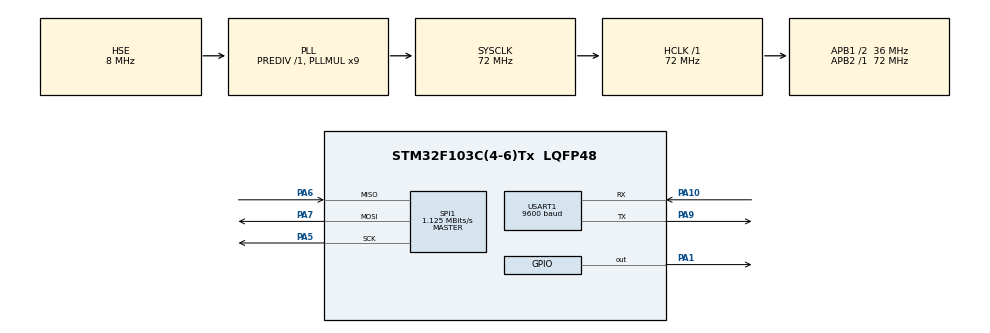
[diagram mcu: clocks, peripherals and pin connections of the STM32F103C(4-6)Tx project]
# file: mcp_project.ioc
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Mcu.Family=STM32F1
Mcu.Name=STM32F103C(4-6)Tx
Mcu.Package=LQFP48
NVIC.PriorityGroup=NVIC_PRIORITYGROUP_4
PA1.Signal=GPIO_Output
PA10.Mode=Asynchronous
PA10.Signal=USART1_RX
PA13.Mode=Serial_Wire
PA13.Signal=SYS_JTMS-SWDIO
PA14.Mode=Serial_Wire
PA14.Signal=SYS_JTCK-SWCLK
PA5.Mode=Full_Duplex_Master
PA5.Signal=SPI1_SCK
PA6.Mode=Full_Duplex_Master
PA6.Signal=SPI1_MISO
PA7.Mode=Full_Duplex_Master
PA7.Signal=SPI1_MOSI
PA9.Mode=Asynchronous
PA9.Signal=USART1_TX
PD0-OSC_IN.Mode=HSE-External-Oscillator
PD0-OSC_IN.Signal=RCC_OSC_IN
PD1-OSC_OUT.Mode=HSE-External-Oscillator
PD1-OSC_OUT.Signal=RCC_OSC_OUT
ProjectManager.HeapSize=0x200
ProjectManager.StackSize=0x400
ProjectManager.TargetToolchain=STM32CubeIDE
RCC.AHBFreq_Value=72000000
RCC.APB1CLKDivider=RCC_HCLK_DIV2
RCC.APB1Freq_Value=36000000
RCC.APB1TimFreq_Value=72000000
RCC.APB2Freq_Value=72000000
RCC.APB2TimFreq_Value=72000000
RCC.HCLKFreq_Value=72000000
RCC.PLLMUL=RCC_PLL_MUL9
RCC.PLLSourceVirtual=RCC_PLLSOURCE_HSE
RCC.SYSCLKFreq_VALUE=72000000
RCC.SYSCLKSource=RCC_SYSCLKSOURCE_PLLCLK
RCC.USBFreq_Value=72000000
SPI1.BaudRatePrescaler=SPI_BAUDRATEPRESCALER_64
SPI1.CalculateBaudRate=1.125 MBits/s
SPI1.Direction=SPI_DIRECTION_2LINES
SPI1.Mode=SPI_MODE_MASTER
SPI1.VirtualType=VM_MASTER
USART1.BaudRate=9600
USART1.VirtualMode=VM_ASYNC
board=custom

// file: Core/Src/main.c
/* USER CODE BEGIN Header */
/**
  ******************************************************************************
  * @file           : main.c
  * @brief          : Main program body
  ******************************************************************************
  * @attention
  *
  * Copyright (c) 2024 STMicroelectronics.
  * All rights reserved.
  *
  * This software is licensed under terms that can be found in the LICENSE file
  * in the root directory of this software component.
  * If no LICENSE file comes with this software, it is provided AS-IS.
  *
  ******************************************************************************
  */
/* USER CODE END Header */
#include "main.h"

/* USER CODE BEGIN Includes */
#include "stdio.h"
#include "stdlib.h"
#include "string.h"

/* USER CODE END Includes */

SPI_HandleTypeDef hspi1;

UART_HandleTypeDef huart1;

void SystemClock_Config(void);
static void MX_GPIO_Init(void);
static void MX_SPI1_Init(void);
static void MX_USART1_UART_Init(void);

int main(void)
{

  /* MCU Configuration--------------------------------------------------------*/

  /* Reset of all peripherals, Initializes the Flash interface and the Systick. */
  HAL_Init();

  /* Configure the system clock */
  SystemClock_Config();

  /* Initialize all configured peripherals */
  MX_GPIO_Init();
  MX_SPI1_Init();
  MX_USART1_UART_Init();
  /* USER CODE BEGIN 2 */
  uint8_t txData[3];
   uint8_t rxData[3];
   char msg[50];

  /* USER CODE END 2 */

  /* Infinite loop */
  while (1)
  {

    /* USER CODE BEGIN 3 */
	  txData[0] = 0b1000; // Start bit
	  txData[1] = 0b0000; // Single-ended, channel 0
	  txData[2] = 0;          // Dummy byte

	     HAL_GPIO_WritePin(GPIOA, GPIO_PIN_1, GPIO_PIN_RESET); // Pull CS low
	     HAL_SPI_TransmitReceive(&hspi1, txData, rxData, 3, 100);
	     HAL_GPIO_WritePin(GPIOA, GPIO_PIN_1, GPIO_PIN_SET);   // Pull CS high

	     // Convert received data to ADC value
	     uint16_t adcValue = ((rxData[1] & 0x0F) << 8) | rxData[2];

	     // Print ADC value to console
	     sprintf(msg, "ADC Value: %d\r\n", adcValue);
	     HAL_UART_Transmit(&huart1, (uint8_t *)msg, strlen(msg), HAL_MAX_DELAY);

	     HAL_Delay(1000); // Delay for readability

  }
  /* USER CODE END 3 */
}

void SystemClock_Config(void)
{
  RCC_OscInitTypeDef RCC_OscInitStruct = {0};
  RCC_ClkInitTypeDef RCC_ClkInitStruct = {0};

  /** Initializes the RCC Oscillators according to the specified parameters
  * in the RCC_OscInitTypeDef structure.
  */
  RCC_OscInitStruct.OscillatorType = RCC_OSCILLATORTYPE_HSE;
  RCC_OscInitStruct.HSEState = RCC_HSE_ON;
  RCC_OscInitStruct.HSEPredivValue = RCC_HSE_PREDIV_DIV1;
  RCC_OscInitStruct.HSIState = RCC_HSI_ON;
  RCC_OscInitStruct.PLL.PLLState = RCC_PLL_ON;
  RCC_OscInitStruct.PLL.PLLSource = RCC_PLLSOURCE_HSE;
  RCC_OscInitStruct.PLL.PLLMUL = RCC_PLL_MUL9;
  if (HAL_RCC_OscConfig(&RCC_OscInitStruct) != HAL_OK)
  {
    Error_Handler();
  }

  /** Initializes the CPU, AHB and APB buses clocks
  */
  RCC_ClkInitStruct.ClockType = RCC_CLOCKTYPE_HCLK|RCC_CLOCKTYPE_SYSCLK
                              |RCC_CLOCKTYPE_PCLK1|RCC_CLOCKTYPE_PCLK2;
  RCC_ClkInitStruct.SYSCLKSource = RCC_SYSCLKSOURCE_PLLCLK;
  RCC_ClkInitStruct.AHBCLKDivider = RCC_SYSCLK_DIV1;
  RCC_ClkInitStruct.APB1CLKDivider = RCC_HCLK_DIV2;
  RCC_ClkInitStruct.APB2CLKDivider = RCC_HCLK_DIV1;

  if (HAL_RCC_ClockConfig(&RCC_ClkInitStruct, FLASH_LATENCY_2) != HAL_OK)
  {
    Error_Handler();
  }
}

static void MX_SPI1_Init(void)
{

  /* SPI1 parameter configuration*/
  hspi1.Instance = SPI1;
  hspi1.Init.Mode = SPI_MODE_MASTER;
  hspi1.Init.Direction = SPI_DIRECTION_2LINES;
  hspi1.Init.DataSize = SPI_DATASIZE_8BIT;
  hspi1.Init.CLKPolarity = SPI_POLARITY_LOW;
  hspi1.Init.CLKPhase = SPI_PHASE_1EDGE;
  hspi1.Init.NSS = SPI_NSS_SOFT;
  hspi1.Init.BaudRatePrescaler = SPI_BAUDRATEPRESCALER_64;
  hspi1.Init.FirstBit = SPI_FIRSTBIT_MSB;
  hspi1.Init.TIMode = SPI_TIMODE_DISABLE;
  hspi1.Init.CRCCalculation = SPI_CRCCALCULATION_DISABLE;
  hspi1.Init.CRCPolynomial = 10;
  if (HAL_SPI_Init(&hspi1) != HAL_OK)
  {
    Error_Handler();
  }

}

static void MX_USART1_UART_Init(void)
{

  huart1.Instance = USART1;
  huart1.Init.BaudRate = 9600;
  huart1.Init.WordLength = UART_WORDLENGTH_8B;
  huart1.Init.StopBits = UART_STOPBITS_1;
  huart1.Init.Parity = UART_PARITY_NONE;
  huart1.Init.Mode = UART_MODE_TX_RX;
  huart1.Init.HwFlowCtl = UART_HWCONTROL_NONE;
  huart1.Init.OverSampling = UART_OVERSAMPLING_16;
  if (HAL_UART_Init(&huart1) != HAL_OK)
  {
    Error_Handler();
  }

}

static void MX_GPIO_Init(void)
{
  GPIO_InitTypeDef GPIO_InitStruct = {0};

  /* GPIO Ports Clock Enable */
  __HAL_RCC_GPIOD_CLK_ENABLE();
  __HAL_RCC_GPIOA_CLK_ENABLE();

  /*Configure GPIO pin Output Level */
  HAL_GPIO_WritePin(GPIOA, GPIO_PIN_1, GPIO_PIN_RESET);

  /*Configure GPIO pin : PA1 */
  GPIO_InitStruct.Pin = GPIO_PIN_1;
  GPIO_InitStruct.Mode = GPIO_MODE_OUTPUT_PP;
  GPIO_InitStruct.Pull = GPIO_NOPULL;
  GPIO_InitStruct.Speed = GPIO_SPEED_FREQ_LOW;
  HAL_GPIO_Init(GPIOA, &GPIO_InitStruct);

}

void Error_Handler(void)
{
  __disable_irq();
  while (1)
  {
  }
}
